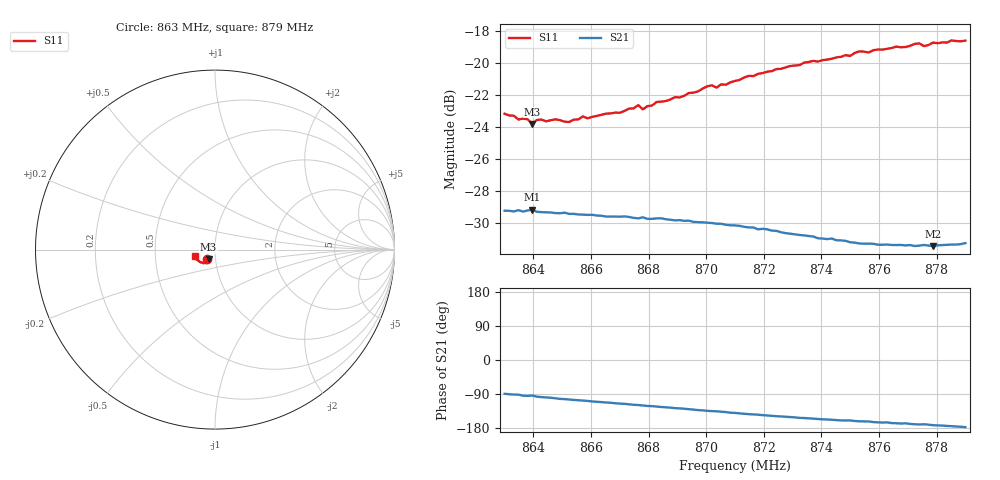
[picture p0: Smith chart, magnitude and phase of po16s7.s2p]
# HZ S RI R 50
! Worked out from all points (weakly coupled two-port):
!   101 points, 863 MHz to 879 MHz, reference 50 ohm
!   highest |S21| = -29.15 dB at 863.96 MHz (marker M1); lowest = -31.4 dB at 877.88 MHz (marker M2)
!   lowest |S11| = -23.8 dB at 863.96 MHz (marker M3), VSWR 1.14, Z = 46.3 - j4.96 ohm
!   |S11| at or under -10 dB: start of sweep to end of sweep
!   S12 and S22 are empty: the file has one direction only
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8.63e8  -0.0446 -0.0532  0.000508 -0.0346  0 0  0 0
8.6348e8  -0.0384 -0.0545  -0.00086 -0.0348  0 0  0 0
8.638e8  -0.0404 -0.0531  -0.00288 -0.0346  0 0  0 0
8.6396e8  -0.0362 -0.0534  -0.00226 -0.0348  0 0  0 0
8.6428e8  -0.0375 -0.055  -0.0047 -0.034  0 0  0 0
8.6524e8  -0.0354 -0.0551  -0.00832 -0.0328  0 0  0 0
8.6572e8  -0.0347 -0.0586  -0.00987 -0.0322  0 0  0 0
8.6588e8  -0.034 -0.0579  -0.0104 -0.032  0 0  0 0
8.67e8  -0.0345 -0.0609  -0.014 -0.0301  0 0  0 0
8.6764e8  -0.0355 -0.0648  -0.0158 -0.0287  0 0  0 0
8.678e8  -0.034 -0.063  -0.0165 -0.0286  0 0  0 0
8.6844e8  -0.0362 -0.0665  -0.0183 -0.0272  0 0  0 0
8.7004e8  -0.0432 -0.0726  -0.0221 -0.0228  0 0  0 0
8.7036e8  -0.0431 -0.0718  -0.0225 -0.0222  0 0  0 0
8.71e8  -0.0483 -0.0734  -0.0238 -0.0202  0 0  0 0
8.7372e8  -0.0686 -0.0748  -0.026 -0.0123  0 0  0 0
8.7532e8  -0.0843 -0.0685  -0.026 -0.00849  0 0  0 0
8.7644e8  -0.0923 -0.0622  -0.0263 -0.00632  0 0  0 0
8.774e8  -0.1011 -0.0549  -0.0266 -0.00462  0 0  0 0
8.7756e8  -0.0993 -0.0535  -0.0267 -0.0049  0 0  0 0
8.7788e8  -0.1045 -0.0496  -0.0266 -0.00372  0 0  0 0
8.79e8  -0.111 -0.0381  -0.0274 -0.00129  0 0  0 0
